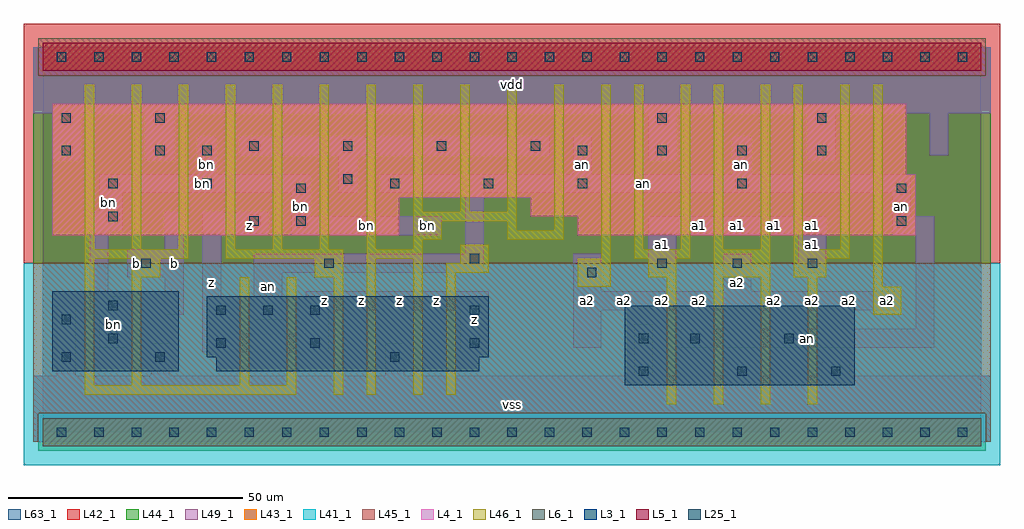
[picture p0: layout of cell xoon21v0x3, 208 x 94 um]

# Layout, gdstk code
import gdstk
lib = gdstk.Library(unit=1e-6, precision=1e-09)
def R(c, l, rs):  # rectangles x0, y0, x1, y1
    for r in rs: c.add(gdstk.rectangle(r[:2], r[2:], *l))
def A(c, l, x, y, w, h, nx, ny, dx, dy):  # array of equal rectangles
    R(c, l, [(x+i*dx, y+j*dy, x+i*dx+w, y+j*dy+h) for i in range(nx) for j in range(ny)])
L3_1 = (3, 1)
L4_1 = (4, 1)
L5_1 = (5, 1)
L6_1 = (6, 1)
L25_1 = (25, 1)
L41_1 = (41, 1)
L42_1 = (42, 1)
L43_1 = (43, 1)
L44_1 = (44, 1)
L45_1 = (45, 1)
L46_1 = (46, 1)
L49_1 = (49, 1)
L63_1 = (63, 1)

xoon21v0x3 = lib.new_cell('xoon21v0x3')
R(xoon21v0x3, L3_1, [(124,10,173,27), (2,13,29,30), (37,13,93,16), (35,16,95,29)])
R(xoon21v0x3, L4_1, [(2,42,76,50), (114,42,186,46), (104,46,186,50), (2,50,186,55), (2,55,184,70)])
R(xoon21v0x3, L5_1, [(0,77,200,83)])
R(xoon21v0x3, L6_1, [(0,-3,200,3), (0,-3,200,3)])
A(xoon21v0x3, L25_1, 3, -1, 2, 2, 25, 2, 8, 80)
A(xoon21v0x3, L25_1, 37, 25, 2, 2, 3, 1, 10, 0)
A(xoon21v0x3, L25_1, 131, 35, 2, 2, 3, 1, 16, 0)
A(xoon21v0x3, L25_1, 74, 52, 2, 2, 3, 1, 20, 0)
A(xoon21v0x3, L25_1, 114, 59, 2, 2, 4, 1, 17, 0)
A(xoon21v0x3, L25_1, 44, 60, 2, 2, 4, 1, 20, 0)
R(xoon21v0x3, L25_1, [(127,12,129,14), (148,12,150,14), (168,12,170,14), (4,15,6,17), (24,15,26,17), (74,15,76,17), (37,18,39,20), (57,18,59,20), (91,18,93,20), (14,19,16,21), (127,19,129,21), (138,19,140,21), (158,19,160,21), (4,23,6,25), (91,25,93,27), (14,26,16,28), (179,27,181,29), (116,33,118,35), (21,35,23,37), (60,35,62,37), (91,36,93,38), (81,43,83,45), (44,44,46,46), (54,44,56,46), (182,44,184,46), (14,45,16,47), (54,51,56,53), (182,51,184,53), (14,52,16,54), (34,52,36,54), (148,52,150,54), (64,53,66,55), (4,59,6,61), (24,59,26,61), (34,59,36,61), (4,66,6,68), (24,66,26,68), (131,66,133,68), (165,66,167,68)])
R(xoon21v0x3, L41_1, [(-4,-7,204,36)])
R(xoon21v0x3, L42_1, [(-4,36,204,87)])
R(xoon21v0x3, L43_1, [(0,-3,200,3), (124,10,173,27), (2,13,29,30), (37,13,93,16), (35,16,95,29), (2,42,76,50), (114,42,186,46), (104,46,186,50), (2,50,186,55), (2,55,184,70), (0,77,200,83)])
R(xoon21v0x3, L44_1, [(-1,-4,201,4), (-2,36,202,76), (-2,76,-1,82), (201,76,202,82)])
R(xoon21v0x3, L45_1, [(-2,-2,-1,4), (201,-2,202,4), (-2,4,202,36), (-1,76,201,84)])
A(xoon21v0x3, L46_1, 133, 6, 2, 27, 4, 1, 10, 0)
A(xoon21v0x3, L46_1, 9, 39, 2, 35, 7, 1, 10, 0)
A(xoon21v0x3, L46_1, 79, 47, 2, 27, 3, 1, 10, 0)
R(xoon21v0x3, L46_1, [(9,8,54,10), (62,8,64,33), (69,8,71,37), (79,8,81,37), (86,8,88,34), (9,10,11,37), (19,10,21,33), (42,10,44,33), (52,10,54,33), (177,25,183,31), (114,31,121,37), (177,31,179,74), (19,33,25,37), (58,33,64,37), (129,33,135,37), (143,33,155,39), (160,33,167,37), (86,34,95,36), (89,36,95,40), (9,37,31,39), (39,37,64,39), (69,37,81,39), (119,37,121,74), (126,37,138,39), (160,37,172,39), (79,39,81,41), (126,39,128,74), (136,39,138,74), (143,39,145,74), (153,39,155,74), (160,39,162,74), (170,39,172,74), (79,41,85,45), (99,41,111,43), (99,43,101,45), (109,43,111,74), (79,45,101,47)])
R(xoon21v0x3, L49_1, [(-2,-2,202,12), (3,12,7,27), (23,12,27,19), (73,12,77,19), (126,12,130,23), (146,12,152,15), (166,12,172,15), (34,17,61,21), (89,17,95,26), (12,18,18,25), (113,18,119,26), (136,18,190,22), (34,21,40,29), (56,21,61,26), (186,22,190,42), (45,24,51,34), (10,25,18,29), (26,25,30,33), (56,26,95,30), (113,26,183,30), (10,29,14,43), (34,29,38,42), (113,30,119,38), (145,30,151,38), (18,33,30,39), (45,34,94,38), (129,34,135,42), (161,34,167,42), (90,38,94,51), (26,39,30,47), (34,42,48,47), (53,42,85,46), (129,42,167,46), (181,42,190,46), (10,43,17,47), (53,46,57,51), (181,46,185,51), (12,47,17,51), (12,51,57,55), (63,51,67,59), (72,51,185,55), (33,55,37,63), (113,55,117,63), (147,55,151,63), (2,58,8,68), (22,58,28,68), (129,58,135,68), (163,58,169,68), (42,59,108,63), (189,59,193,68), (-2,68,202,82)])
R(xoon21v0x3, L63_1, [(0,0,200,80)])
xoon21v0x3.add(gdstk.Label('bn', (82,44), layer=49, texttype=1))
xoon21v0x3.add(gdstk.Label('bn', (15,23), layer=49, texttype=1))
xoon21v0x3.add(gdstk.Label('b', (20,36), layer=49, texttype=1))
xoon21v0x3.add(gdstk.Label('b', (28,36), layer=49, texttype=1))
xoon21v0x3.add(gdstk.Label('bn', (14,49), layer=49, texttype=1))
xoon21v0x3.add(gdstk.Label('z', (60,28), layer=49, texttype=1))
xoon21v0x3.add(gdstk.Label('an', (48,31), layer=49, texttype=1))
xoon21v0x3.add(gdstk.Label('z', (36,32), layer=49, texttype=1))
xoon21v0x3.add(gdstk.Label('z', (44,44), layer=49, texttype=1))
xoon21v0x3.add(gdstk.Label('bn', (34,53), layer=49, texttype=1))
xoon21v0x3.add(gdstk.Label('bn', (35,57), layer=49, texttype=1))
xoon21v0x3.add(gdstk.Label('bn', (55,48), layer=49, texttype=1))
xoon21v0x3.add(gdstk.Label('z', (76,28), layer=49, texttype=1))
xoon21v0x3.add(gdstk.Label('z', (92,24), layer=49, texttype=1))
xoon21v0x3.add(gdstk.Label('z', (84,28), layer=49, texttype=1))
xoon21v0x3.add(gdstk.Label('z', (68,28), layer=49, texttype=1))
xoon21v0x3.add(gdstk.Label('bn', (69,44), layer=49, texttype=1))
xoon21v0x3.add(gdstk.Label('vss', (100,6), layer=49, texttype=1))
xoon21v0x3.add(gdstk.Label('a2', (116,28), layer=49, texttype=1))
xoon21v0x3.add(gdstk.Label('a2', (124,28), layer=49, texttype=1))
xoon21v0x3.add(gdstk.Label('a2', (132,28), layer=49, texttype=1))
xoon21v0x3.add(gdstk.Label('a1', (132,40), layer=49, texttype=1))
xoon21v0x3.add(gdstk.Label('an', (115,57), layer=49, texttype=1))
xoon21v0x3.add(gdstk.Label('vdd', (100,74), layer=49, texttype=1))
xoon21v0x3.add(gdstk.Label('a2', (156,28), layer=49, texttype=1))
xoon21v0x3.add(gdstk.Label('a2', (140,28), layer=49, texttype=1))
xoon21v0x3.add(gdstk.Label('a2', (164,28), layer=49, texttype=1))
xoon21v0x3.add(gdstk.Label('a2', (148,32), layer=49, texttype=1))
xoon21v0x3.add(gdstk.Label('a1', (156,44), layer=49, texttype=1))
xoon21v0x3.add(gdstk.Label('a1', (148,44), layer=49, texttype=1))
xoon21v0x3.add(gdstk.Label('a1', (140,44), layer=49, texttype=1))
xoon21v0x3.add(gdstk.Label('a1', (164,40), layer=49, texttype=1))
xoon21v0x3.add(gdstk.Label('a1', (164,44), layer=49, texttype=1))
xoon21v0x3.add(gdstk.Label('an', (149,57), layer=49, texttype=1))
xoon21v0x3.add(gdstk.Label('an', (163,20), layer=49, texttype=1))
xoon21v0x3.add(gdstk.Label('a2', (180,28), layer=49, texttype=1))
xoon21v0x3.add(gdstk.Label('a2', (172,28), layer=49, texttype=1))
xoon21v0x3.add(gdstk.Label('an', (128,53), layer=49, texttype=1))
xoon21v0x3.add(gdstk.Label('an', (183,48), layer=49, texttype=1))

lib.write_gds('xoon21v0x3.gds')
